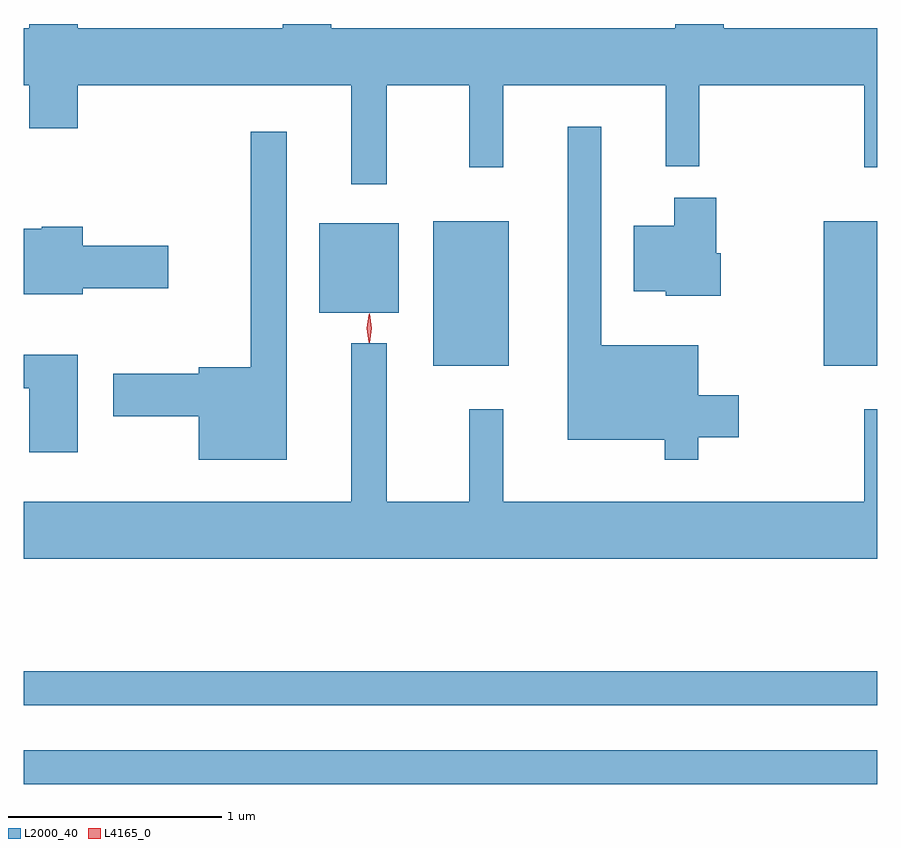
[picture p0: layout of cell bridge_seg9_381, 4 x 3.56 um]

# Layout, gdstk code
import gdstk
lib = gdstk.Library(unit=1e-6, precision=1e-09)
def R(c, l, rs):  # rectangles x0, y0, x1, y1
    for r in rs: c.add(gdstk.rectangle(r[:2], r[2:], *l))
def P(c, l, *ps):  # polygons
    for p in ps: c.add(gdstk.Polygon(p, *l))
L2000_40 = (2000, 40)
L4165_0 = (4165, 0)

bridge_seg9_381 = lib.new_cell('bridge_seg9_381')
R(bridge_seg9_381, L2000_40, [(917.477,1953.021,921.477,1953.179), (917.477,1953.391,921.477,1953.549), (919.396,1954.981,919.749,1955.659), (921.226,1954.981,921.477,1955.659), (918.861,1955.231,919.234,1955.649)])
P(bridge_seg9_381, L2000_40, [(919.179,1956.296),(919.566,1956.296),(919.566,1955.913),(919.724,1955.913),(919.724,1956.296),(920.486,1956.296),(920.486,1955.918),(920.644,1955.918),(920.644,1956.296),(921.416,1956.296),(921.416,1955.913),(921.477,1955.913),(921.477,1956.564),(920.759,1956.564),(920.759,1956.584),(920.531,1956.584),(920.531,1956.564),(918.919,1956.564),(918.919,1956.584),(918.691,1956.584),(918.691,1956.564),(917.729,1956.564),(917.729,1956.584),(917.501,1956.584),(917.501,1956.564),(917.477,1956.564),(917.477,1956.296),(917.501,1956.296),(917.501,1956.096),(917.729,1956.096),(917.729,1956.296),(919.011,1956.296),(919.011,1955.833),(919.179,1955.833)],
  [(920.639,1954.646),(920.829,1954.646),(920.829,1954.844),(920.639,1954.844),(920.639,1955.079),(920.184,1955.079),(920.184,1956.103),(920.026,1956.103),(920.026,1954.636),(920.481,1954.636),(920.481,1954.541),(920.639,1954.541)],
  [(918.709,1956.078),(918.541,1956.078),(918.541,1954.974),(918.296,1954.974),(918.296,1954.944),(917.896,1954.944),(917.896,1954.746),(918.296,1954.746),(918.296,1954.541),(918.709,1954.541)],
  [(920.744,1955.509),(920.724,1955.509),(920.724,1955.769),(920.526,1955.769),(920.526,1955.639),(920.336,1955.639),(920.336,1955.331),(920.486,1955.331),(920.486,1955.311),(920.744,1955.311)],
  [(917.754,1955.346),(918.154,1955.346),(918.154,1955.544),(917.754,1955.544),(917.754,1955.634),(917.56,1955.634),(917.56,1955.624),(917.477,1955.624),(917.477,1955.316),(917.754,1955.316)],
  [(921.477,1954.778),(921.416,1954.778),(921.416,1954.344),(919.724,1954.344),(919.724,1954.778),(919.566,1954.778),(919.566,1954.344),(919.179,1954.344),(919.179,1955.088),(919.011,1955.088),(919.011,1954.344),(917.477,1954.344),(917.477,1954.076),(921.477,1954.076)],
  [(917.729,1955.034),(917.477,1955.034),(917.477,1954.876),(917.501,1954.876),(917.501,1954.576),(917.729,1954.576)])
P(bridge_seg9_381, L4165_0, [(919.094,1955.093),(919.094,1955.093),(919.084,1955.157),(919.094,1955.221),(919.094,1955.222),(919.095,1955.221),(919.104,1955.157),(919.095,1955.093)],
  [(919.097,1955.089),(919.097,1955.09),(919.087,1955.158),(919.097,1955.226),(919.097,1955.226),(919.098,1955.226),(919.107,1955.158),(919.098,1955.09)])

lib.write_gds('bridge_seg9_381.gds')
